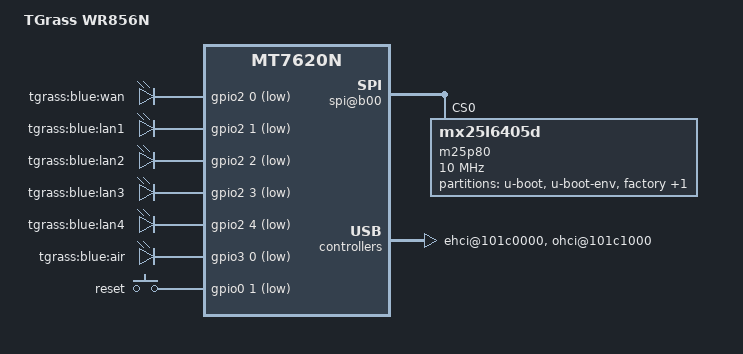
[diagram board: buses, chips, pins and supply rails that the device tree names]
/dts-v1/;

/include/ "mt7620n.dtsi"

/ {
	compatible = "wr856n", "ralink,mt7620n-soc";
	model = "TGrass WR856N";

	palmbus@10000000 {
		gpio2: gpio@660 {
			status = "okay";
		};

		gpio3: gpio@688 {
			status = "okay";
		};

		spi@b00 {
			status = "okay";

			m25p80@0 {
				#address-cells = <1>;
				#size-cells = <1>;
				compatible = "mx25l6405d";
				reg = <0 0>;
				linux,modalias = "m25p80", "w25q128";
				spi-max-frequency = <10000000>;

				partition@0 {
					label = "u-boot";
					reg = <0x0 0x30000>;
					read-only;
				};

				partition@30000 {
					label = "u-boot-env";
					reg = <0x30000 0x10000>;
					read-only;
				};

				factory: partition@40000 {
					label = "factory";
					reg = <0x40000 0x10000>;
					read-only;
				};

				partition@50000 {
					label = "firmware";
					reg = <0x50000 0x7b0000>;
				};
			};
		};
	};

	ehci@101c0000 {
		status = "okay";
	};

	ohci@101c1000 {
		status = "okay";
	};

	ethernet@10100000 {
		mtd-mac-address = <&factory 0x4>;
		ralink,port-map = "wllll";
	};

	wmac@10180000 {
		ralink,mtd-eeprom = <&factory 0>;
	};

	pinctrl {
		state_default: pinctrl0 {
			default {
				ralink,group = "ephy", "wled", "pa", "i2c", "wdt", "uartf";
				ralink,function = "gpio";
			};
		};
	};
        gpio-leds {
                compatible = "gpio-leds";
                wan {
                        label = "tgrass:blue:wan";
                        gpios = <&gpio2 0 1>;
                };
                lan1 {
                        label = "tgrass:blue:lan1";
                        gpios = <&gpio2 1 1>;
                };
                lan2 {
                        label = "tgrass:blue:lan2";
                        gpios = <&gpio2 2 1>;
                };
                lan3 {
                        label = "tgrass:blue:lan3";
                        gpios = <&gpio2 3 1>;
                };
                lan4 {
                        label = "tgrass:blue:lan4";
                        gpios = <&gpio2 4 1>;
                };
                air {
                        label = "tgrass:blue:air";
                        gpios = <&gpio3 0 1>;
                };
        };

        gpio-keys-polled {
                compatible = "gpio-keys-polled";
                #address-cells = <1>;
                #size-cells = <0>;
                poll-interval = <20>;
                reset {
                        label = "reset";
                        gpios = <&gpio0 1 1>;
                        linux,code = <0x198>;
                };
        };
};
